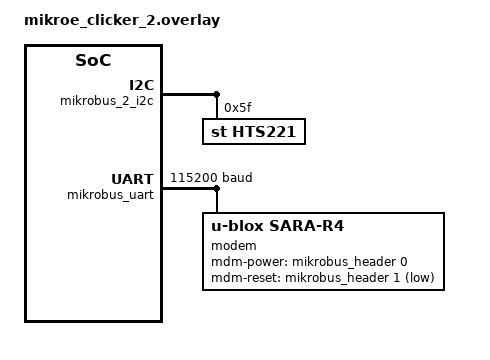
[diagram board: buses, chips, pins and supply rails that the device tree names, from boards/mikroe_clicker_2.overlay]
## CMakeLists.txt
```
# SPDX-FileCopyrightText: 2026 ID8 Engineering AB
# SPDX-License-Identifier: Apache-2.0

cmake_minimum_required(VERSION 3.13.1)

find_package(Zephyr REQUIRED HINTS $ENV{ZEPHYR_BASE})

project(app LANGUAGES C)

if(USE_DUMMY_CREDS)
  set(creds "src/creds/dummy.c")
else()
  if(NOT EXISTS ${APPLICATION_SOURCE_DIR}/src/creds/key.c OR
     NOT EXISTS ${APPLICATION_SOURCE_DIR}/src/creds/cert.c OR
     NOT EXISTS ${APPLICATION_SOURCE_DIR}/src/creds/ca.c)
    message(FATAL_ERROR
        "Credentials not found. From the root repository root, run "
        "'python3 app/src/creds/convert_keys.py' before building"
    )
  endif()

  set(creds "src/creds/ca.c" "src/creds/key.c" "src/creds/cert.c")
endif()

set(helpers "src/sensor.c" "src/modem.c" "src/aws.c" "src/mender.c")

target_sources(app PRIVATE src/main.c ${helpers} ${creds})
```

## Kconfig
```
# SPDX-FileCopyrightText: 2026 ID8 Engineering AB
# SPDX-License-Identifier: Apache-2.0

menu "AWS"

config AWS_ENDPOINT
	string "AWS endpoint"
	default ""

config AWS_MQTT_PORT
	int "AWS MQTT port"
	default 8883

config AWS_THING_NAME
	string "AWS thing name"
	default "myThingName"

config AWS_PUBLISH_TOPIC
	string "AWS publish topic"
	default "myThingName/data"

config AWS_QOS
	int "AWS QoS"
	default 0
	range 0 1

config AWS_EXPONENTIAL_BACKOFF
	bool "AWS exponential backoff"
	default y

endmenu

menu "Zephyr"
source "Kconfig.zephyr"
endmenu

module = APP
module-str = APP
source "subsys/logging/Kconfig.template.log_config"
```

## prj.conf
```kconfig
# SPDX-FileCopyrightText: 2026 ID8 Engineering AB
# SPDX-License-Identifier: Apache-2.0

# AWS
CONFIG_AWS_ENDPOINT="a2g0n3tb9mjo3i-ats.iot.eu-north-1.amazonaws.com"
CONFIG_AWS_THING_NAME="Seven-clicker-sample"
CONFIG_AWS_PUBLISH_TOPIC="seven-sample/data"
CONFIG_AWS_QOS=1
CONFIG_AWS_EXPONENTIAL_BACKOFF=y

# MQTT
CONFIG_MQTT_LIB=y
CONFIG_MQTT_LIB_TLS=y
CONFIG_MQTT_KEEPALIVE=60
CONFIG_MQTT_LIB_TLS_USE_ALPN=y

# TLS / mbedTLS
CONFIG_TLS_CREDENTIALS=y
CONFIG_MBEDTLS=y
CONFIG_MBEDTLS_BUILTIN=y
CONFIG_MBEDTLS_ENABLE_HEAP=y
CONFIG_MBEDTLS_HEAP_SIZE=32768
CONFIG_MBEDTLS_SSL_MAX_CONTENT_LEN=4096
CONFIG_MBEDTLS_SSL_PROTO_TLS1_2=y
CONFIG_MBEDTLS_ECP_C=y
CONFIG_MBEDTLS_ECDSA_C=y
CONFIG_MBEDTLS_ECP_DP_SECP256R1_ENABLED=y
CONFIG_MBEDTLS_PEM_PARSE_C=y
CONFIG_MBEDTLS_PK_WRITE_C=y
CONFIG_MBEDTLS_SSL_SERVER_NAME_INDICATION=y
CONFIG_MBEDTLS_HAVE_TIME_DATE=y
CONFIG_MBEDTLS_SSL_ALPN=y
CONFIG_MBEDTLS_CIPHERSUITE_TLS_ECDHE_RSA_WITH_AES_128_CBC_SHA256=y
CONFIG_MBEDTLS_AES_ROM_TABLES=y

# Networking
CONFIG_NETWORKING=y
CONFIG_NET_NATIVE=y
CONFIG_NET_L2_PPP=y
CONFIG_NET_IPV4=y
CONFIG_NET_SOCKETS=y
CONFIG_NET_SOCKETS_SOCKOPT_TLS=y
CONFIG_NET_TCP=y
CONFIG_NET_UDP=y

# DNS
CONFIG_DNS_RESOLVER=y
CONFIG_DNS_RESOLVER_ADDITIONAL_BUF_CTR=2
CONFIG_DNS_RESOLVER_MAX_SERVERS=1
CONFIG_NET_SOCKETS_DNS_TIMEOUT=5000
CONFIG_NET_L2_PPP_OPTION_DNS_USE=y

# SNTP time sync (for TLS certificate date validation)
CONFIG_SNTP=y
CONFIG_NET_CONFIG_SETTINGS=y
CONFIG_NET_CONFIG_CLOCK_SNTP_INIT=y
CONFIG_NET_CONFIG_SNTP_INIT_SERVER="time.google.com"
CONFIG_NET_CONFIG_SNTP_INIT_TIMEOUT=10000
CONFIG_NET_CONFIG_SNTP_INIT_RESYNC=y
CONFIG_NET_CONFIG_SNTP_INIT_USE_CONNECTION_MANAGER=y
CONFIG_NET_CONFIG_SNTP_INIT_RESYNC_INTERVAL=300
CONFIG_NET_CONFIG_SNTP_INIT_RESYNC_ON_FAILURE_INTERVAL=15

# Network management
CONFIG_NET_MGMT=y
CONFIG_NET_MGMT_EVENT=y
CONFIG_NET_CONNECTION_MANAGER=y

# Modem driver
CONFIG_MODEM=y
CONFIG_PM_DEVICE=y
CONFIG_MODEM_CELLULAR=y
CONFIG_REGULATOR=y
CONFIG_MODEM_CELLULAR_APN="onomondo"
CONFIG_MODEM_CELLULAR_PERIODIC_SCRIPT_MS=30000

# Runtime / libc
CONFIG_MAIN_STACK_SIZE=4096
CONFIG_REQUIRES_FULL_LIBC=y
CONFIG_POSIX_API=y
CONFIG_JSON_LIBRARY=y

# Logging
CONFIG_LOG=y
CONFIG_LOG_DEFAULT_LEVEL=3
CONFIG_LOG_OUTPUT_FORMAT_ISO8601_TIMESTAMP=y
CONFIG_MODEM_MODULES_LOG_LEVEL_INF=y

# Mender
CONFIG_BOOTLOADER_MCUBOOT=y
CONFIG_MCUBOOT_IMGTOOL_OVERWRITE_ONLY=y
CONFIG_MENDER_MCU_CLIENT=y
CONFIG_MENDER_SERVER_HOST_EU=y
CONFIG_MENDER_SERVER_TENANT_TOKEN="..."
CONFIG_MENDER_DEVICE_TYPE="mikroe-clicker-2"
CONFIG_MENDER_ZEPHYR_IMAGE_UPDATE_MODULE=y
CONFIG_MENDER_DEPLOYMENT_LOGS=n
CONFIG_MENDER_ARTIFACT_GENERATE=n

# App
CONFIG_SENSOR=y
CONFIG_UART_INTERRUPT_DRIVEN=y
CONFIG_TEST_RANDOM_GENERATOR=y
```

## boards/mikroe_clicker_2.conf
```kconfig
# SPDX-FileCopyrightText: 2026 ID8 Engineering AB
# SPDX-License-Identifier: Apache-2.0

# CMUX/UART buffering tuned for SARA-R4 on clicker_2
# Use moderate software buffers and CMUX MSC flow control to reduce drops.
CONFIG_MODEM_CELLULAR_UART_BUFFER_SIZES=4096
CONFIG_MODEM_CELLULAR_CHAT_BUFFER_SIZE=1024
CONFIG_MODEM_CELLULAR_USER_PIPE_BUFFER_SIZES=2048
CONFIG_MODEM_CMUX_MTU=127
CONFIG_MODEM_CMUX_WORK_BUFFER_SIZE_EXTRA=2048
CONFIG_MODEM_CMUX_MSC_FC_THRESHOLD=0

# Trigger RX processing sooner to avoid UART ring overrun under burst traffic.
CONFIG_MODEM_BACKEND_UART_ISR_RECEIVE_IDLE_TIMEOUT_MS=20
```

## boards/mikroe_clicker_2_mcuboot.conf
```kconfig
CONFIG_BOOT_UPGRADE_ONLY=y
CONFIG_BOOT_SWAP_USING_OFFSET=n
CONFIG_BOOT_SWAP_USING_SCRATCH=n
CONFIG_MCUBOOT_LOG_LEVEL_DBG=y
CONFIG_MCUBOOT_LOG_LEVEL_INF=n
CONFIG_MCUBOOT_UTIL_LOG_LEVEL_DBG=y
```

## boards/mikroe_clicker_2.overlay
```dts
/*
 * SPDX-FileCopyrightText: 2026 ID8 Engineering AB
 *
 * SPDX-License-Identifier: Apache-2.0
 */

&mikrobus_2_i2c {
	status = "okay";

	hts221@5f {
		compatible = "st,hts221";
		reg = <0x5f>;
		status = "okay";
	};
};

/ {
	aliases {
		modem = &modem;
		modem-uart = &mikrobus_uart;
	};

	chosen {
		zephyr,modem-uart = &mikrobus_uart;
		zephyr,code-partition = &slot0_partition;
	};
};

&flash0 {
	partitions {
		compatible = "fixed-partitions";
		#address-cells = <1>;
		#size-cells = <1>;

		boot_partition: partition@0 {
			label = "mcuboot";
			reg = <0x00000000 0x00020000>;
		};

		slot0_partition: partition@20000 {
			label = "image-0";
			reg = <0x00020000 0x00060000>;
		};

		slot1_partition: partition@80000 {
			label = "image-1";
			reg = <0x00080000 0x00060000>;
		};

		mender_partition: partition@e0000 {
			label = "mender";
			reg = <0x000e0000 0x00020000>;
		};
	};
};

&mikrobus_uart {
	current-speed = <115200>;
	status = "okay";

	modem: modem {
		status = "okay";
		compatible = "u-blox,sara-r4";
		mdm-power-gpios = <&mikrobus_header 0 (GPIO_OPEN_SOURCE | GPIO_ACTIVE_HIGH)>;
		mdm-reset-gpios = <&mikrobus_header 1 (GPIO_OPEN_DRAIN | GPIO_ACTIVE_LOW)>;
	};
};
```

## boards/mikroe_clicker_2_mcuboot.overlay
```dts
/*
 * SPDX-FileCopyrightText: 2026 ID8 Engineering AB
 *
 * SPDX-License-Identifier: Apache-2.0
 */

/ {
	chosen {
		zephyr,code-partition = &boot_partition;
	};
};

&flash0 {
	partitions {
		compatible = "fixed-partitions";
		#address-cells = <1>;
		#size-cells = <1>;

		boot_partition: partition@0 {
			label = "mcuboot";
			reg = <0x00000000 0x00020000>;
		};

		slot0_partition: partition@20000 {
			label = "image-0";
			reg = <0x00020000 0x00060000>;
		};

		slot1_partition: partition@80000 {
			label = "image-1";
			reg = <0x00080000 0x00060000>;
		};

		mender_partition: partition@e0000 {
			label = "mender";
			reg = <0x000e0000 0x00020000>;
		};
	};
};
```

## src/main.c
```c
/*
 * SPDX-FileCopyrightText: 2026 ID8 Engineering AB
 *
 * SPDX-License-Identifier: Apache-2.0
 */

#include <stdint.h>
#include <zephyr/kernel.h>
#include <zephyr/logging/log.h>
#include <zephyr/net/sntp.h>

#include "aws.h"
#include "mender.h"
#include "modem.h"
#include "sensor.h"

#define SENSOR_POLL_INTERVAL_MS           1000
#define AWS_PUBLISH_DATA_INTERVAL_SECONDS 30
#define AWS_PROCESS_TIMEOUT_MS            100
#define SNTP_RETRY_DELAY_SECONDS          5

LOG_MODULE_REGISTER(app, LOG_LEVEL_INF);

static struct sensor_value temp;
static struct sensor_value hum;

static uint32_t aws_last_publish;

static int sync_time_with_sntp(void)
{
	struct sntp_time ts;
	struct timespec tspec;
	int ret;
	int retry_count = 0;

	for (;;) {
		retry_count++;
		ret = sntp_simple(CONFIG_NET_CONFIG_SNTP_INIT_SERVER,
				  CONFIG_NET_CONFIG_SNTP_INIT_TIMEOUT, &ts);
		if (ret == 0) {
			break;
		}

		LOG_DBG("SNTP sync failed (attempt: %d): %d", retry_count, ret);
		k_sleep(K_SECONDS(SNTP_RETRY_DELAY_SECONDS));
	}

	tspec.tv_sec = ts.seconds;
	tspec.tv_nsec = ((uint64_t)ts.fraction * NSEC_PER_SEC) >> 32;

	return sys_clock_settime(SYS_CLOCK_REALTIME, &tspec);
}

int main(void)
{
	int ret = modem_connect_and_wait(K_SECONDS(120), K_SECONDS(20));
	if (ret < 0) {
		LOG_ERR("Modem init failed: %d", ret);
		return ret;
	}

	LOG_INF("Synchronizing time with SNTP");
	ret = sync_time_with_sntp();
	if (ret < 0) {
		LOG_ERR("SNTP time sync failed: %d", ret);
		return ret;
	}

	const struct device *const dev = DEVICE_DT_GET_ONE(st_hts221);

	if (!device_is_ready(dev)) {
		LOG_ERR("sensor: device not ready");
		return -ENODEV;
	}
	ret = mender_start();
	if (ret < 0) {
		LOG_ERR("Mender start failed: %d", ret);
		return ret;
	}
	ret = aws_init();
	if (ret < 0) {
		LOG_ERR("AWS init failed: %d", ret);
		return ret;
	}
	ret = aws_connect();
	if (ret < 0) {
		LOG_ERR("AWS connect failed: %d", ret);
		return ret;
	}

	while (1) {
		ret = aws_process(AWS_PROCESS_TIMEOUT_MS);
		if (ret < 0) {
			LOG_ERR("AWS process failed: %d", ret);
			return ret;
		}
		uint32_t now = k_uptime_seconds();
		if (now - aws_last_publish >= AWS_PUBLISH_DATA_INTERVAL_SECONDS) {
			ret = read_sensor_parameters(dev, &temp, &hum);
			int64_t temp_milli = sensor_value_to_milli(&temp);
			int64_t hum_milli = sensor_value_to_milli(&hum);

			LOG_INF("Temperature: %" PRId64 " mC", temp_milli);
			LOG_INF("Relative Humidity: %" PRId64 " m%%", hum_milli);
			ret = aws_publish((int32_t)temp_milli, (int32_t)hum_milli);

			if (ret < 0) {
				LOG_ERR("AWS publish failed: %d", ret);
			} else {
				aws_last_publish = now;
			}
		}
		k_sleep(K_MSEC(SENSOR_POLL_INTERVAL_MS));
	}
}
```

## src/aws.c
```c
/*
 * Copyright (c) 2023 Lucas Dietrich <ld.adecy@gmail.com>
 *
 * SPDX-License-Identifier: Apache-2.0
 */

#include <errno.h>
#include <stdio.h>
#include <stdlib.h>
#include <string.h>
#include <time.h>

#include <zephyr/posix/netinet/in.h>
#include <zephyr/posix/sys/socket.h>
#include <zephyr/posix/arpa/inet.h>
#include <zephyr/posix/unistd.h>
#include <zephyr/posix/netdb.h>
#include <zephyr/posix/poll.h>

#include <zephyr/net/socket.h>
#include <zephyr/net/dns_resolve.h>
#include <zephyr/net/conn_mgr_connectivity.h>
#include <zephyr/net/net_if.h>
#include <zephyr/net/net_mgmt.h>
#include <zephyr/net/mqtt.h>
#include <zephyr/net/tls_credentials.h>
#include <zephyr/drivers/cellular.h>
#include <zephyr/device.h>
#include <zephyr/devicetree.h>
#include <zephyr/data/json.h>
#include <zephyr/random/random.h>
#include <zephyr/logging/log.h>

#include "creds/creds.h"

#if defined(CONFIG_MBEDTLS_MEMORY_DEBUG)
#include <mbedtls/memory_buffer_alloc.h>
#endif

LOG_MODULE_REGISTER(aws, LOG_LEVEL_DBG);

#define AWS_BROKER_PORT CONFIG_AWS_MQTT_PORT

#define MQTT_BUFFER_SIZE 256u
#define APP_BUFFER_SIZE  4096u

#define MAX_RETRIES         10u
#define BACKOFF_EXP_BASE_MS 1000u
#define BACKOFF_EXP_MAX_MS  60000u
#define BACKOFF_CONST_MS    5000u
static struct sockaddr_in aws_broker;

static uint8_t rx_buffer[MQTT_BUFFER_SIZE];
static uint8_t tx_buffer[MQTT_BUFFER_SIZE];
static uint8_t buffer[APP_BUFFER_SIZE]; /* Shared between published and received messages */

static struct mqtt_client client_ctx;

static const char mqtt_client_name[] = CONFIG_AWS_THING_NAME;

#if (CONFIG_AWS_MQTT_PORT == 443 && !defined(CONFIG_MQTT_LIB_WEBSOCKET))
static const char *const alpn_list[] = {"x-amzn-mqtt-ca"};
#endif

#define TLS_TAG_DEVICE_CERTIFICATE 1
#define TLS_TAG_DEVICE_PRIVATE_KEY 1
#define TLS_TAG_AWS_CA_CERTIFICATE 2

static const sec_tag_t sec_tls_tags[] = {
	TLS_TAG_DEVICE_CERTIFICATE,
	TLS_TAG_AWS_CA_CERTIFICATE,
};

static int setup_credentials(void)
{
	int ret;

	ret = tls_credential_add(TLS_TAG_DEVICE_CERTIFICATE, TLS_CREDENTIAL_SERVER_CERTIFICATE,
				 public_cert, public_cert_len);
	if (ret < 0) {
		LOG_ERR("Failed to add device certificate: %d", ret);
		goto exit;
	}

	ret = tls_credential_add(TLS_TAG_DEVICE_PRIVATE_KEY, TLS_CREDENTIAL_PRIVATE_KEY,
				 private_key, private_key_len);
	if (ret < 0) {
		LOG_ERR("Failed to add CA certificate: %d", ret);
		goto exit;
	}

	ret = tls_credential_add(TLS_TAG_AWS_CA_CERTIFICATE, TLS_CREDENTIAL_CA_CERTIFICATE, ca_cert,
				 ca_cert_len);
	if (ret < 0) {
		LOG_ERR("Failed to add device private key: %d", ret);
		goto exit;
	}

exit:
	return ret;
}

static int publish_message(const char *topic, size_t topic_len, uint8_t *payload,
			   size_t payload_len)
{
	static uint32_t message_id = 1u;

	int ret;
	struct mqtt_publish_param msg;

	msg.retain_flag = 0u;
	msg.dup_flag = 0u;
	msg.message.topic.topic.utf8 = topic;
	msg.message.topic.topic.size = topic_len;
	msg.message.topic.qos = CONFIG_AWS_QOS;
	msg.message.payload.data = payload;
	msg.message.payload.len = payload_len;
	msg.message_id = message_id++;

	ret = mqtt_publish(&client_ctx, &msg);
	if (ret < 0) {
		LOG_ERR("Failed to publish message: %d", ret);
		return ret;
	}

	LOG_INF("PUBLISHED on topic \"%s\" [ id: %u qos: %u ], payload: %u B", topic,
		msg.message_id, msg.message.topic.qos, payload_len);
	LOG_HEXDUMP_DBG(payload, payload_len, "Published payload:");

	return ret;
}

static void mqtt_event_cb(struct mqtt_client *client, const struct mqtt_evt *evt)
{
	ARG_UNUSED(client);
	LOG_DBG("MQTT event: [%u] result: %d", evt->type, evt->result);

	switch (evt->type) {
	case MQTT_EVT_CONNACK:
		if (evt->result == 0) {
			LOG_INF("MQTT connected");
		} else {
			LOG_ERR("MQTT CONNACK failed: %d", evt->result);
		}
		break;

	case MQTT_EVT_PUBACK:
		break;

	case MQTT_EVT_DISCONNECT:
		break;

	case MQTT_EVT_PUBREC:
	case MQTT_EVT_PUBREL:
	case MQTT_EVT_PUBCOMP:
	case MQTT_EVT_PINGRESP:
	case MQTT_EVT_UNSUBACK:
	default:
		break;
	}
}

static void aws_client_setup(void)
{
	mqtt_client_init(&client_ctx);

	client_ctx.broker = &aws_broker;
	client_ctx.evt_cb = mqtt_event_cb;

	client_ctx.client_id.utf8 = (uint8_t *)mqtt_client_name;
	client_ctx.client_id.size = sizeof(mqtt_client_name) - 1;
	client_ctx.password = NULL;
	client_ctx.user_name = NULL;

	client_ctx.keepalive = CONFIG_MQTT_KEEPALIVE;

	client_ctx.protocol_version = MQTT_VERSION_3_1_1;

	client_ctx.rx_buf = rx_buffer;
	client_ctx.rx_buf_size = MQTT_BUFFER_SIZE;
	client_ctx.tx_buf = tx_buffer;
	client_ctx.tx_buf_size = MQTT_BUFFER_SIZE;

	/* setup TLS */
	client_ctx.transport.type = MQTT_TRANSPORT_SECURE;
	struct mqtt_sec_config *const tls_config = &client_ctx.transport.tls.config;

	tls_config->peer_verify = TLS_PEER_VERIFY_REQUIRED;
	tls_config->cipher_list = NULL;
	tls_config->sec_tag_list = sec_tls_tags;
	tls_config->sec_tag_count = ARRAY_SIZE(sec_tls_tags);
	tls_config->hostname = CONFIG_AWS_ENDPOINT;
	tls_config->cert_nocopy = TLS_CERT_NOCOPY_NONE;
#if (CONFIG_AWS_MQTT_PORT == 443 && !defined(CONFIG_MQTT_LIB_WEBSOCKET))
	tls_config->alpn_protocol_name_list = alpn_list;
	tls_config->alpn_protocol_name_count = ARRAY_SIZE(alpn_list);
#endif
}

struct backoff_context {
	uint16_t retries_count;
	uint16_t max_retries;

#if defined(CONFIG_AWS_EXPONENTIAL_BACKOFF)
	uint32_t attempt_max_backoff; /* ms */
	uint32_t max_backoff;         /* ms */
#endif
};

static void backoff_context_init(struct backoff_context *bo)
{
	__ASSERT_NO_MSG(bo != NULL);

	bo->retries_count = 0u;
	bo->max_retries = MAX_RETRIES;

#if defined(CONFIG_AWS_EXPONENTIAL_BACKOFF)
	bo->attempt_max_backoff = BACKOFF_EXP_BASE_MS;
	bo->max_backoff = BACKOFF_EXP_MAX_MS;
#endif
}

/* https://aws.amazon.com/blogs/architecture/exponential-backoff-and-jitter/ */
static void backoff_get_next(struct backoff_context *bo, uint32_t *next_backoff_ms)
{
	__ASSERT_NO_MSG(bo != NULL);
	__ASSERT_NO_MSG(next_backoff_ms != NULL);

#if defined(CONFIG_AWS_EXPONENTIAL_BACKOFF)
	if (bo->retries_count <= bo->max_retries) {
		*next_backoff_ms = sys_rand32_get() % (bo->attempt_max_backoff + 1u);

		/* Calculate max backoff for the next attempt (~ 2**attempt) */
		bo->attempt_max_backoff = MIN(bo->attempt_max_backoff * 2u, bo->max_backoff);
		bo->retries_count++;
	}
#else
	*next_backoff_ms = BACKOFF_CONST_MS;
	bo->retries_count++;
#endif
}

static int aws_client_try_connect(void)
{
	int ret;
	uint32_t backoff_ms;
	struct backoff_context bo;

	backoff_context_init(&bo);

	while (bo.retries_count <= bo.max_retries) {
		ret = mqtt_connect(&client_ctx);
		if (ret == 0) {
			goto exit;
		}

		backoff_get_next(&bo, &backoff_ms);

		LOG_ERR("Failed to connect: %d backoff delay: %u ms", ret, backoff_ms);
		k_msleep(backoff_ms);
	}

exit:
	return ret;
}

struct publish_payload {
	int32_t temperature;
	int32_t humidity;
};

static const struct json_obj_descr json_descr[] = {
	JSON_OBJ_DESCR_PRIM(struct publish_payload, temperature, JSON_TOK_NUMBER),
	JSON_OBJ_DESCR_PRIM(struct publish_payload, humidity, JSON_TOK_NUMBER),
};

static int publish(int32_t temperature, int32_t humidity)
{
	struct publish_payload pl = {
		.temperature = temperature,
		.humidity = humidity,
	};

	int len;
	memset(buffer, 0, sizeof(buffer));
	len = json_obj_encode_buf(json_descr, ARRAY_SIZE(json_descr), &pl, buffer, sizeof(buffer));
	if (len < 0) {
		LOG_ERR("Failed to encode JSON payload: %d", len);
		return len;
	}

	/* Use string length to avoid publishing trailing bytes if encoder behavior changes. */
	size_t payload_len = strnlen((char *)buffer, sizeof(buffer));
	LOG_INF("Publishing JSON: %.*s", (int)payload_len, (char *)buffer);

	return publish_message(CONFIG_AWS_PUBLISH_TOPIC, strlen(CONFIG_AWS_PUBLISH_TOPIC), buffer,
			       payload_len);
}

int aws_publish(int32_t temperature, int32_t humidity)
{
	return publish(temperature, humidity);
}

static int resolve_broker_addr(struct sockaddr_in *broker)
{
	int ret;
	struct addrinfo *ai = NULL;

	const struct addrinfo hints = {
		.ai_family = AF_INET,
		.ai_socktype = SOCK_STREAM,
		.ai_protocol = 0,
	};
	char port_string[6] = {0};

	snprintf(port_string, sizeof(port_string), "%d", AWS_BROKER_PORT);
	ret = getaddrinfo(CONFIG_AWS_ENDPOINT, port_string, &hints, &ai);
	if (ret == 0) {
		char addr_str[INET_ADDRSTRLEN];

		memcpy(broker, ai->ai_addr, MIN(ai->ai_addrlen, sizeof(struct sockaddr_storage)));

		inet_ntop(AF_INET, &broker->sin_addr, addr_str, sizeof(addr_str));
		LOG_INF("Resolved: %s:%u", addr_str, htons(broker->sin_port));
	} else {
		LOG_ERR("failed to resolve hostname err = %d (errno = %d)", ret, errno);
	}

	if (ai != NULL) {
		freeaddrinfo(ai);
	}

	return ret;
}

int aws_init(void)
{
	int ret;

	ret = setup_credentials();
	if (ret < 0) {
		return ret;
	}

	ret = resolve_broker_addr(&aws_broker);
	if (ret < 0) {
		return ret;
	}

	aws_client_setup();

	return 0;
}

int aws_connect(void)
{
	int ret;

	ret = aws_client_try_connect();
	if (ret < 0) {
		return ret;
	}

	return 0;
}

int aws_process(int timeout_ms)
{
	int ret;
	struct zsock_pollfd fds[] = {
		{
			.fd = client_ctx.transport.tls.sock,
			.events = ZSOCK_POLLIN,
		},
	};

	if (client_ctx.transport.type != MQTT_TRANSPORT_SECURE || fds[0].fd < 0) {
		return -ENOTCONN;
	}

	ret = zsock_poll(fds, ARRAY_SIZE(fds), timeout_ms);
	if (ret < 0) {
		return -errno;
	}

	if (ret > 0 && (fds[0].revents & ZSOCK_POLLIN)) {
		ret = mqtt_input(&client_ctx);
		if (ret < 0) {
			return ret;
		}
	}

	ret = mqtt_live(&client_ctx);
	if (ret < 0 && ret != -EAGAIN) {
		return ret;
	}

	return 0;
}
```

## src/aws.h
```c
/*
 * SPDX-FileCopyrightText: 2026 ID8 Engineering AB
 *
 * SPDX-License-Identifier: Apache-2.0
 */

#ifndef AWS_H_
#define AWS_H_

#include <stdint.h>

int aws_init(void);
int aws_connect(void);
int aws_process(int timeout_ms);
int aws_publish(int32_t temperature, int32_t humidity);

#endif /* AWS_H_ */
```

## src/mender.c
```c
/*
 * SPDX-FileCopyrightText: 2026 ID8 Engineering AB
 *
 * SPDX-License-Identifier: Apache-2.0
 */

#include <zephyr/device.h>
#include <zephyr/devicetree.h>
#include <zephyr/drivers/cellular.h>
#include <zephyr/logging/log.h>
#include <zephyr/sys/reboot.h>

#include <mender/client.h>
#include <mender/zephyr-image-update-module.h>

LOG_MODULE_REGISTER(mender_app, LOG_LEVEL_INF);

static char mender_identity_value[32];
static mender_identity_t mender_identity = {
	.name = "imei",
	.value = mender_identity_value,
};

static mender_err_t mender_network_connect_cb(void)
{
	/* The application keeps the PPP link up continuously. */
	return MENDER_OK;
}

static mender_err_t mender_network_release_cb(void)
{
	/* The PPP link is shared with AWS and should remain connected. */
	return MENDER_OK;
}

static mender_err_t mender_restart_cb(void)
{
	LOG_INF("Mender requested restart");
	sys_reboot(SYS_REBOOT_COLD);
	return MENDER_OK;
}

static mender_err_t mender_deployment_status_cb(mender_deployment_status_t status,
						const char *status_name)
{
	ARG_UNUSED(status);
	LOG_INF("Mender deployment status: %s", status_name);
	return MENDER_OK;
}

static mender_err_t mender_get_identity_cb(const mender_identity_t **identity)
{
	const struct device *modem = DEVICE_DT_GET(DT_ALIAS(modem));
	int ret;

	if (identity == NULL) {
		return MENDER_FAIL;
	}

	if (mender_identity.value[0] == '\0') {
		ret = cellular_get_modem_info(modem, CELLULAR_MODEM_INFO_IMEI, mender_identity_value,
					      sizeof(mender_identity_value));
		if (ret < 0 || mender_identity_value[0] == '\0') {
			LOG_ERR("Unable to read modem IMEI for Mender identity: %d", ret);
			return MENDER_FAIL;
		}
	}

	*identity = &mender_identity;
	return MENDER_OK;
}

int mender_start(void)
{
	mender_err_t ret;
	mender_client_config_t config = {
		.device_type = CONFIG_MENDER_DEVICE_TYPE,
		.host = NULL,
		.tenant_token = NULL,
		.device_tier = CONFIG_MENDER_DEVICE_TIER,
		.update_poll_interval = 0,
#ifndef CONFIG_MENDER_CLIENT_INVENTORY_DISABLE
		.inventory_update_interval = 0,
#endif
		.backoff_interval = 0,
		.max_backoff_interval = 0,
		.recommissioning = false,
	};
	mender_client_callbacks_t callbacks = {
		.network_connect = mender_network_connect_cb,
		.network_release = mender_network_release_cb,
		.deployment_status = mender_deployment_status_cb,
		.restart = mender_restart_cb,
		.get_identity = mender_get_identity_cb,
		.get_user_provided_keys = NULL,
	};

	ret = mender_client_init(&config, &callbacks);
	if (ret != MENDER_OK) {
		LOG_ERR("Mender init failed: %d", ret);
		return -EINVAL;
	}

	ret = mender_zephyr_image_register_update_module();
	if (ret != MENDER_OK) {
		LOG_ERR("Mender update module registration failed: %d", ret);
		return -EINVAL;
	}

	ret = mender_client_activate();
	if (ret != MENDER_OK) {
		LOG_ERR("Mender activation failed: %d", ret);
		return -EINVAL;
	}

	LOG_INF("Mender activated");
	return 0;
}
```

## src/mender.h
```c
/*
 * SPDX-FileCopyrightText: 2026 ID8 Engineering AB
 *
 * SPDX-License-Identifier: Apache-2.0
 */

#ifndef MENDER_H_
#define MENDER_H_

int mender_start(void);

#endif /* MENDER_H_ */
```

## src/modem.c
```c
/*
 * SPDX-FileCopyrightText: 2026 ID8 Engineering AB
 *
 * SPDX-License-Identifier: Apache-2.0
 */

#include <sys/errno.h>

#include <zephyr/kernel.h>
#include <zephyr/logging/log.h>
#include <zephyr/net/net_if.h>
#include <zephyr/net/net_mgmt.h>
#include <zephyr/drivers/cellular.h>
#include <zephyr/device.h>
#include <zephyr/devicetree.h>

#include "modem.h"

LOG_MODULE_REGISTER(modem, LOG_LEVEL_INF);

#define L4_CONNECTED BIT(0)
#define L4_DNS_ADDED BIT(1)
#define L4_EVENT_MASK                                                                              \
	(NET_EVENT_L4_CONNECTED | NET_EVENT_L4_DISCONNECTED | NET_EVENT_DNS_SERVER_ADD)

static struct k_event l4_event;

static void print_cellular_info(const struct device *modem)
{
	int rc;
	int16_t rssi;
	char buffer[64];

	if (!device_is_ready(modem)) {
		LOG_WRN("Modem device is not ready for info query");
		return;
	}

	rc = cellular_get_signal(modem, CELLULAR_SIGNAL_RSSI, &rssi);
	if (!rc) {
		LOG_INF("RSSI: %d", rssi);
	}

	rc = cellular_get_modem_info(modem, CELLULAR_MODEM_INFO_IMEI, &buffer[0], sizeof(buffer));
	if (!rc) {
		LOG_INF("IMEI: %s", buffer);
	}
	rc = cellular_get_modem_info(modem, CELLULAR_MODEM_INFO_MODEL_ID, &buffer[0],
				     sizeof(buffer));
	if (!rc) {
		LOG_INF("MODEL_ID: %s", buffer);
	}
	rc = cellular_get_modem_info(modem, CELLULAR_MODEM_INFO_MANUFACTURER, &buffer[0],
				     sizeof(buffer));
	if (!rc) {
		LOG_INF("MANUFACTURER: %s", buffer);
	}
	rc = cellular_get_modem_info(modem, CELLULAR_MODEM_INFO_SIM_IMSI, &buffer[0],
				     sizeof(buffer));
	if (!rc) {
		LOG_INF("SIM_IMSI: %s", buffer);
	}
	rc = cellular_get_modem_info(modem, CELLULAR_MODEM_INFO_SIM_ICCID, &buffer[0],
				     sizeof(buffer));
	if (!rc) {
		LOG_INF("SIM_ICCID: %s", buffer);
	}
	rc = cellular_get_modem_info(modem, CELLULAR_MODEM_INFO_FW_VERSION, &buffer[0],
				     sizeof(buffer));
	if (!rc) {
		LOG_INF("FW_VERSION: %s", buffer);
	}
}

/* Track L4 state transitions so modem_connect_and_wait() can block on events. */
static void l4_event_handler(uint64_t event, struct net_if *iface, void *info, size_t info_length,
			     void *user_data)
{
	ARG_UNUSED(iface);
	ARG_UNUSED(info);
	ARG_UNUSED(info_length);
	ARG_UNUSED(user_data);

	switch (event) {
	case NET_EVENT_L4_CONNECTED:
		k_event_post(&l4_event, L4_CONNECTED);
		break;
	case NET_EVENT_DNS_SERVER_ADD:
		k_event_post(&l4_event, L4_DNS_ADDED);
		break;
	case NET_EVENT_L4_DISCONNECTED:
		k_event_set(&l4_event, 0);
		break;
	default:
		break;
	}
}

NET_MGMT_REGISTER_EVENT_HANDLER(l4_events, L4_EVENT_MASK, l4_event_handler, NULL);

int modem_connect_and_wait(k_timeout_t l4_timeout, k_timeout_t dns_timeout)
{
	const struct device *modem = DEVICE_DT_GET(DT_ALIAS(modem));
	struct net_if *ppp_iface;
	uint32_t events;

	/* Initialize once per connection attempt so waits see fresh state. */
	k_event_init(&l4_event);

	ppp_iface = net_if_get_first_by_type(&NET_L2_GET_NAME(PPP));
	if (ppp_iface == NULL) {
		LOG_ERR("PPP interface not found");
		return -ENODEV;
	}

	(void)net_if_up(ppp_iface);

	LOG_INF("Waiting for L4 connected");
	events = k_event_wait(&l4_event, L4_CONNECTED, false, l4_timeout);
	if ((events & L4_CONNECTED) == 0U) {
		LOG_ERR("L4 was not connected in time");
		return -ETIMEDOUT;
	}
	LOG_INF("L4 connected");
	print_cellular_info(modem);

	LOG_INF("Waiting for DNS server added");
	events = k_event_wait(&l4_event, L4_DNS_ADDED, false, dns_timeout);
	if ((events & L4_DNS_ADDED) == 0U) {
		LOG_ERR("DNS server was not added in time");
		return -ETIMEDOUT;
	}

	return 0;
}
```

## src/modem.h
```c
/*
 * SPDX-FileCopyrightText: 2026 ID8 Engineering AB
 *
 * SPDX-License-Identifier: Apache-2.0
 */

#ifndef MODEM_H_
#define MODEM_H_

#include <zephyr/kernel.h>

#ifdef __cplusplus
extern "C" {
#endif

/*
 * modem_connect_and_wait() brings up the cellular modem and PPP interface,
 * then waits for L4 connectivity. If dns_timeout is not K_NO_WAIT, it also
 * waits for DNS server announcement.
 */
int modem_connect_and_wait(k_timeout_t l4_timeout, k_timeout_t dns_timeout);

#ifdef __cplusplus
}
#endif

#endif /* MODEM_H_ */
```

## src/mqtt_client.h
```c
#include <stdint.h>

#ifndef APP_MQTT_CLIENT_H_
#define APP_MQTT_CLIENT_H_

int app_mqtt_init(void);
int app_mqtt_connect(void);
int app_mqtt_publish_temp_hum(int32_t temp_mdeg_c, int32_t hum_mpermille);
int app_mqtt_disconnect(void);

#endif /* APP_MQTT_CLIENT_H_ */
```

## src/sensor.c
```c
/*
 * SPDX-FileCopyrightText: 2026 ID8 Engineering AB
 *
 * SPDX-License-Identifier: Apache-2.0
 */

#include <zephyr/kernel.h>
#include <zephyr/logging/log.h>
#include <zephyr/sys/util.h>

#include "sensor.h"

LOG_MODULE_REGISTER(sensor, LOG_LEVEL_INF);

int read_sensor_parameters(const struct device *dev, struct sensor_value *temp,
			   struct sensor_value *hum)
{
	int ret;

	if (dev == NULL) {
		LOG_ERR("Device pointer is NULL");
		return -EINVAL;
	}

	if (temp == NULL) {
		LOG_ERR("Temp pointer is NULL");
		return -EINVAL;
	}

	if (hum == NULL) {
		LOG_ERR("Humidity pointer is NULL");
		return -EINVAL;
	}

	ret = sensor_sample_fetch(dev);
	if (ret < 0) {
		LOG_ERR("Sensor sample update error: %d", ret);
		return ret;
	}

	ret = sensor_channel_get(dev, SENSOR_CHAN_AMBIENT_TEMP, temp);
	if (ret < 0) {
		LOG_ERR("Cannot read HTS221 temperature channel: %d", ret);
		return ret;
	}

	ret = sensor_channel_get(dev, SENSOR_CHAN_HUMIDITY, hum);
	if (ret < 0) {
		LOG_ERR("Cannot read HTS221 humidity channel: %d", ret);
		return ret;
	}
	return 0;
}
```

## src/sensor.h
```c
/*
 * SPDX-FileCopyrightText: 2026 ID8 Engineering AB
 *
 * SPDX-License-Identifier: Apache-2.0
 */

#ifndef _SENSORS_H_
#define _SENSORS_H_

#include <zephyr/device.h>
#include <zephyr/drivers/sensor.h>

int read_sensor_parameters(const struct device *dev, struct sensor_value *temp,
			   struct sensor_value *hum);

#endif /* _SENSORS_H_ */
```
